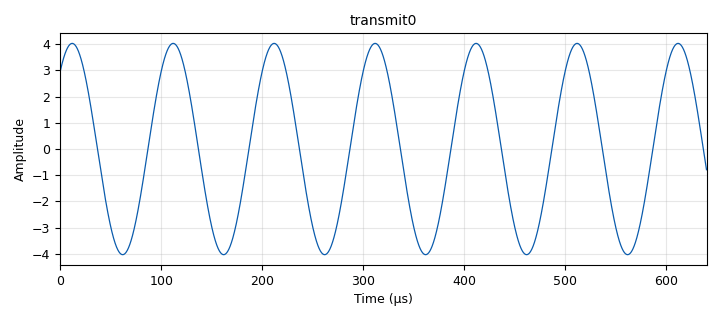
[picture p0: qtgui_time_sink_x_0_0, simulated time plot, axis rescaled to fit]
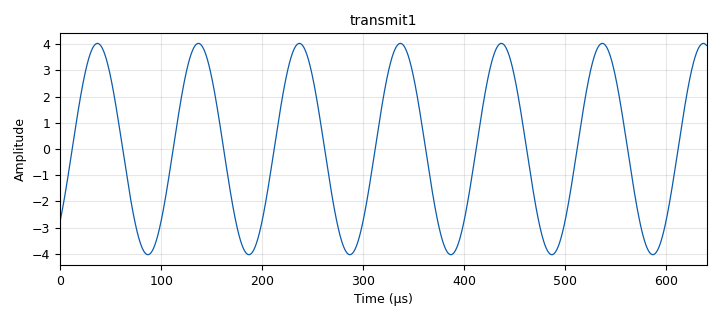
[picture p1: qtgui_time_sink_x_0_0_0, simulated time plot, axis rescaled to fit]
options:
  parameters:
    author: zhouzinan
    generate_options: qt_gui
    id: mod_pulse_am
    output_language: python
    title: mod_pulse_am
  states: {}

blocks:
- name: SNR
  id: variable_qtgui_range
  parameters:
    gui_hint: 0,0
    start: '-5'
    step: '1'
    stop: '15'
    value: '15'
  states: {}
- name: carrier_freq
  id: variable
  parameters:
    value: 1e4
  states: {}
- name: device
  id: variable
  parameters:
    value: '"device_4"'
  states: {}
- name: gain_range
  id: variable_qtgui_range
  parameters:
    gui_hint: 3,0
    start: '0'
    step: '10'
    stop: '90'
    value: '40'
  states: {state: disabled}
- name: mod_freq
  id: variable
  parameters:
    value: 10e3
  states: {}
- name: noise_power
  id: variable
  parameters:
    value: signal_power/pow(10, SNR/10)
  states: {}
- name: pri
  id: variable_qtgui_range
  parameters:
    gui_hint: 1,0
    start: '0'
    step: '10e-6'
    stop: '2100e-6'
    value: '1050e-6'
  states: {}
- name: pw
  id: variable_qtgui_range
  parameters:
    gui_hint: 2,0
    start: '0'
    step: '1e-6'
    stop: '25.4e-6'
    value: '12.7e-6'
  states: {}
- name: rf_freq
  id: variable
  parameters:
    value: 330e6
  states: {}
- name: samp_rate
  id: variable
  parameters:
    value: 16e6
  states: {}
- name: signal_power
  id: variable
  parameters:
    value: '0.5'
  states: {}
- name: analog_agc_xx_0
  id: analog_agc_xx
  parameters:
    gain: '1.0'
    max_gain: '65536'
    rate: '1e-4'
    reference: '1.0'
    type: complex
  states: {state: disabled}
- name: analog_sig_source_x_0
  id: analog_sig_source_x
  parameters:
    amp: pow(2*signal_power, 1/2)
    freq: carrier_freq
    offset: '0'
    phase: '0'
    samp_rate: samp_rate
    type: complex
    waveform: analog.GR_COS_WAVE
  states: {state: disabled}
- name: analog_sig_source_x_0_0
  id: analog_sig_source_x
  parameters:
    amp: pow(2*signal_power, 1/2)
    freq: carrier_freq
    offset: '0'
    phase: '0'
    samp_rate: samp_rate
    type: complex
    waveform: analog.GR_COS_WAVE
  states: {}
- name: analog_sig_source_x_1
  id: analog_sig_source_x
  parameters:
    amp: '1'
    freq: mod_freq/2
    offset: '0'
    phase: '0'
    samp_rate: samp_rate
    type: float
    waveform: analog.GR_SQR_WAVE
  states: {state: disabled}
- name: blocks_add_xx_0
  id: blocks_add_xx
  parameters:
    type: float
  states: {}
- name: blocks_add_xx_0_0
  id: blocks_add_xx
  parameters:
    type: float
  states: {}
- name: blocks_complex_to_float_0
  id: blocks_complex_to_float
  parameters: {}
  states: {state: disabled}
- name: blocks_complex_to_float_1
  id: blocks_complex_to_float
  parameters: {}
  states: {}
- name: blocks_complex_to_float_1_0
  id: blocks_complex_to_float
  parameters: {}
  states: {}
- name: blocks_file_sink_0
  id: blocks_file_sink
  parameters:
    file: '"D:/GNUradio/data/20230731/delay-1+1j"'
    type: complex
  states: {state: disabled}
- name: blocks_float_to_complex_0
  id: blocks_float_to_complex
  parameters: {}
  states: {state: disabled}
- name: blocks_head_0
  id: blocks_head
  parameters:
    num_items: int(samp_rate/10)
    type: complex
  states: {state: disabled}
- name: blocks_multiply_const_vxx_0
  id: blocks_multiply_const_vxx
  parameters:
    const: 1/2
    type: complex
  states: {state: disabled}
- name: blocks_multiply_xx_0
  id: blocks_multiply_xx
  parameters:
    type: float
  states: {state: disabled}
- name: blocks_multiply_xx_0_0
  id: blocks_multiply_xx
  parameters:
    type: float
  states: {state: disabled}
- name: blocks_skiphead_0
  id: blocks_skiphead
  parameters:
    num_items: int(samp_rate/5)
    type: complex
  states: {state: disabled}
- name: blocks_throttle2_0
  id: blocks_throttle2
  parameters:
    samples_per_second: samp_rate
    type: complex
  states: {state: disabled}
- name: blocks_vector_source_x_0
  id: blocks_vector_source_x
  parameters:
    repeat: 'True'
    type: float
    vector: np.hstack((np.ones(int(pw*samp_rate)), np.zeros(int((pri-pw)*samp_rate))))
  states: {state: disabled}
- name: channels_channel_model_0
  id: channels_channel_model
  parameters:
    epsilon: '1.0'
    freq_offset: '0.0'
    noise_voltage: '0'
    seed: '0'
    taps: '-5+0.5j'
  states: {}
- name: channels_channel_model_0_0
  id: channels_channel_model
  parameters:
    epsilon: '1.0'
    freq_offset: '0.0'
    noise_voltage: '0'
    seed: '0'
    taps: '1'
  states: {}
- name: device_0
  id: parameter
  parameters:
    value: '"232057"'
  states: {state: disabled}
- name: device_1
  id: parameter
  parameters:
    value: '"8243c3"'
  states: {state: disabled}
- name: device_2
  id: parameter
  parameters:
    value: '"90a7c7"'
  states: {state: disabled}
- name: device_3
  id: parameter
  parameters:
    value: '"4a0a4f"'
  states: {state: disabled}
- name: device_4
  id: parameter
  parameters:
    value: '"24644f"'
  states: {}
- name: device_5
  id: parameter
  parameters:
    value: '"6f2e4f"'
  states: {state: disabled}
- name: device_6
  id: parameter
  parameters:
    value: '"53454f"'
  states: {state: disabled}
- name: import_0
  id: import
  parameters:
    imports: import numpy as np
  states: {}
- name: osmosdr_sink_0
  id: osmosdr_sink
  parameters:
    args: '"hackrf={}".format(eval(device))'
    bb_gain0: '20'
    freq0: rf_freq
    gain0: '11'
    if_gain0: '47'
    sample_rate: samp_rate
    sync: sync
    type: fc32
  states: {state: disabled}
- name: qtgui_freq_sink_x_0
  id: qtgui_freq_sink_x
  parameters:
    bw: samp_rate
    fc: '0'
    fftsize: '1024'
    name: '"transmit"'
    type: complex
  states: {state: disabled}
- name: qtgui_freq_sink_x_1
  id: qtgui_freq_sink_x
  parameters:
    bw: samp_rate
    fc: '0'
    fftsize: 1024*4
    name: '"receive"'
    type: complex
  states: {state: disabled}
- name: qtgui_time_sink_x_0
  id: qtgui_time_sink_x
  parameters:
    name: '"transmit"'
    size: '10240'
    srate: samp_rate
    type: complex
  states: {state: disabled}
- name: qtgui_time_sink_x_0_0
  id: qtgui_time_sink_x
  parameters:
    name: '"transmit0"'
    size: '10240'
    srate: samp_rate
    type: float
  states: {}
- name: qtgui_time_sink_x_0_0_0
  id: qtgui_time_sink_x
  parameters:
    name: '"transmit1"'
    size: '10240'
    srate: samp_rate
    type: float
  states: {}
- name: qtgui_time_sink_x_1
  id: qtgui_time_sink_x
  parameters:
    name: '"receive"'
    size: '10240'
    srate: samp_rate
    type: complex
  states: {state: disabled}
- name: qtgui_time_sink_x_1_0
  id: qtgui_time_sink_x
  parameters:
    name: '"receive"'
    size: '10240'
    srate: samp_rate
    type: complex
  states: {state: disabled}
- name: qtgui_waterfall_sink_x_0
  id: qtgui_waterfall_sink_x
  parameters:
    bw: samp_rate
    fc: '0'
    fftsize: '1024'
    name: '"receive"'
    type: complex
  states: {state: disabled}
- name: uhd_usrp_source_0
  id: uhd_usrp_source
  parameters:
    ant0: TX/RX
    center_freq0: rf_freq
    dev_addr: '"recv_frame_size=65535,num_recv_frames=128"'
    dev_args: '""'
    gain0: gain_range
    samp_rate: samp_rate
    sync: sync
    type: fc32
  states: {state: disabled}

connections:
- [analog_agc_xx_0, '0', blocks_multiply_const_vxx_0, '0']
- [analog_sig_source_x_0, '0', blocks_complex_to_float_0, '0']
- [analog_sig_source_x_0_0, '0', channels_channel_model_0, '0']
- [analog_sig_source_x_0_0, '0', channels_channel_model_0_0, '0']
- [analog_sig_source_x_1, '0', blocks_multiply_xx_0, '1']
- [analog_sig_source_x_1, '0', blocks_multiply_xx_0_0, '1']
- [blocks_add_xx_0, '0', qtgui_time_sink_x_0_0, '0']
- [blocks_add_xx_0_0, '0', qtgui_time_sink_x_0_0_0, '0']
- [blocks_complex_to_float_0, '0', blocks_multiply_xx_0, '0']
- [blocks_complex_to_float_0, '1', blocks_multiply_xx_0_0, '0']
- [blocks_complex_to_float_1, '0', blocks_add_xx_0, '0']
- [blocks_complex_to_float_1, '1', blocks_add_xx_0_0, '0']
- [blocks_complex_to_float_1_0, '0', blocks_add_xx_0, '1']
- [blocks_complex_to_float_1_0, '1', blocks_add_xx_0_0, '1']
- [blocks_float_to_complex_0, '0', channels_channel_model_0, '0']
- [blocks_head_0, '0', blocks_file_sink_0, '0']
- [blocks_multiply_const_vxx_0, '0', blocks_skiphead_0, '0']
- [blocks_multiply_const_vxx_0, '0', qtgui_freq_sink_x_1, '0']
- [blocks_multiply_const_vxx_0, '0', qtgui_time_sink_x_1, '0']
- [blocks_multiply_const_vxx_0, '0', qtgui_waterfall_sink_x_0, '0']
- [blocks_multiply_xx_0, '0', blocks_float_to_complex_0, '0']
- [blocks_multiply_xx_0_0, '0', blocks_float_to_complex_0, '1']
- [blocks_skiphead_0, '0', blocks_head_0, '0']
- [blocks_throttle2_0, '0', blocks_head_0, '0']
- [blocks_vector_source_x_0, '0', blocks_multiply_xx_0, '1']
- [blocks_vector_source_x_0, '0', blocks_multiply_xx_0_0, '1']
- [channels_channel_model_0, '0', blocks_complex_to_float_1, '0']
- [channels_channel_model_0, '0', osmosdr_sink_0, '0']
- [channels_channel_model_0_0, '0', blocks_complex_to_float_1_0, '0']
- [uhd_usrp_source_0, '0', analog_agc_xx_0, '0']
- [uhd_usrp_source_0, '0', qtgui_time_sink_x_1_0, '0']

metadata:
  file_format: 1
  grc_version: 3.10.6.0
